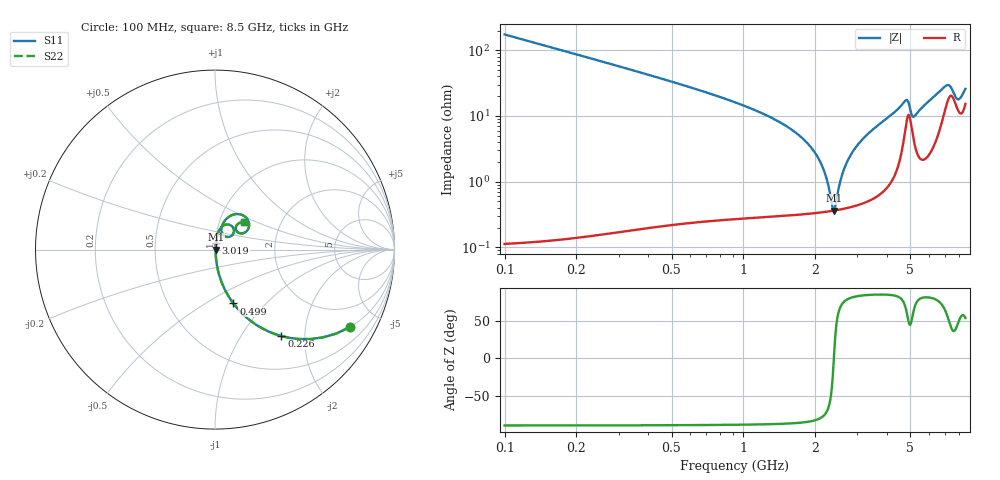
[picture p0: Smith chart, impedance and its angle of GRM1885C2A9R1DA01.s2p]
!Murata Part Number: GRM1885C2A9R1DA01
!These Parameters are Measured in Series Mode Connection
!Data Generated on Mar 30, 2021
!  o--ll--o
!Port1  Port2
!  o------o
!Operation Temp=25[degC], DC Bias Voltage=0[V]
!Freq. Start=100[MHz] Stop=9[GHz] 401[Steps]
# Hz S RI R 50
!Freq.(Hz) S11(Real) S11(Imag) S21(Real) S21(Imag) S12(Real) S12(Imag) S22(Real) S22(Imag)
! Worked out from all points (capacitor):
!   401 points, 100 MHz to 8.5 GHz, reference 50 ohm
!   read as one part in series: C = 9.11 pF near 142 MHz
!   lowest |Z| = 363 mohm at 2.389 GHz (marker M1)
!   series resonance near 2.392 GHz, so ESL is about 490 pH
!   S11 on the Smith chart (normalised r, x): 100 MHz: 1.00, -3.49; 226 MHz: 1.00, -1.53; 499 MHz: 1.00, -0.67; 3.019 GHz: 1.01, +0.07; 8.5 GHz: 1.31, +0.42
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1e8  0.7528 -0.4311  0.2472 0.4311  0.2472 0.4311  0.7528 -0.4311
2.26e8  0.3703 -0.4819  0.6297 0.4819  0.6297 0.4819  0.3703 -0.4819
3.31e8  0.2122 -0.4071  0.7878 0.4071  0.7878 0.4071  0.2122 -0.4071
4.99e8  0.1024 -0.2999  0.8976 0.2999  0.8976 0.2999  0.1024 -0.2999
8.98e8  0.0297 -0.1621  0.9703 0.1621  0.9703 0.1621  0.0297 -0.1621
1.507e9  0.00794 -0.0699  0.9921 0.0699  0.9921 0.0699  0.00794 -0.0699
1.843e9  0.00473 -0.0389  0.9953 0.0389  0.9953 0.0389  0.00473 -0.0389
2.074e9  0.00381 -0.0213  0.9962 0.0213  0.9962 0.0213  0.00381 -0.0213
2.2e9  0.00361 -0.0125  0.9964 0.0125  0.9964 0.0125  0.00361 -0.0125
2.389e9  0.00361 -0.00017  0.9964 0.00017  0.9964 0.00017  0.00361 -0.00017
2.431e9  0.00365 0.00245  0.9963 -0.00245  0.9963 -0.00245  0.00365 0.00245
2.62e9  0.00403 0.0138  0.996 -0.0138  0.996 -0.0138  0.00403 0.0138
2.914e9  0.00515 0.0305  0.9949 -0.0305  0.9949 -0.0305  0.00515 0.0305
3.019e9  0.0057 0.0363  0.9943 -0.0363  0.9943 -0.0363  0.0057 0.0363
3.502e9  0.00939 0.0622  0.9906 -0.0622  0.9906 -0.0622  0.00939 0.0622
4.3e9  0.0247 0.11  0.9753 -0.11  0.9753 -0.11  0.0247 0.11
4.804e9  0.0902 0.1334  0.9098 -0.1334  0.9098 -0.1334  0.0902 0.1334
5.14e9  0.0515 0.0769  0.9485 -0.0769  0.9485 -0.0769  0.0515 0.0769
5.707e9  0.0401 0.1343  0.9599 -0.1343  0.9599 -0.1343  0.0401 0.1343
7.114e9  0.1732 0.1785  0.8268 -0.1785  0.8268 -0.1785  0.1732 0.1785
7.891e9  0.1231 0.1001  0.8769 -0.1001  0.8769 -0.1001  0.1231 0.1001
8.5e9  0.1603 0.1524  0.8397 -0.1524  0.8397 -0.1524  0.1603 0.1524
